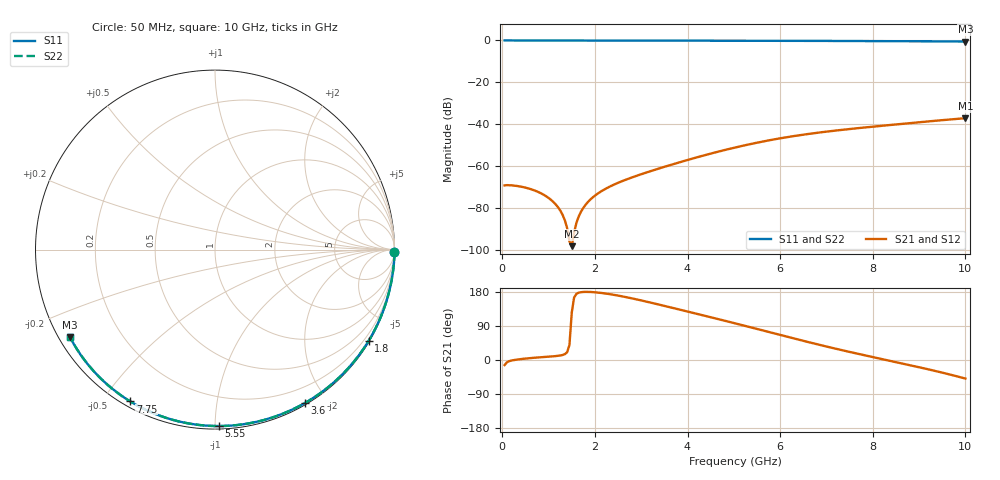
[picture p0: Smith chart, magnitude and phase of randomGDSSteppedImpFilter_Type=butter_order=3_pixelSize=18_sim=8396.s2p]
! freq	dB(S11)	phase(S11)	dB(S12)	phase(S12)
!  dB(S21)	phase(S21)	dB(S22)	phase(S22)
!S-par simulation data
#  GHz  S  DB  R 50
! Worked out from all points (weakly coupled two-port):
!   200 points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, 50 MHz to 10 GHz, reference 50 ohm
!   highest |S21| = -37.15 dB at 10 GHz (marker M1); lowest = -98.3 dB at 1.5 GHz (marker M2)
!   lowest |S11| = -0.5 dB at 10 GHz (marker M3), VSWR 34.64, Z = 1.56 - j13.9 ohm
!   |S11| at or under -10 dB: nowhere
!   |S22| runs from -0.5 to 0.0 dB; largest |S21 - S12| = 0
!   S11 on the Smith chart (normalised r, x): 50 MHz: open; 1.8 GHz: 0.03, -3.66; 3.6 GHz: 0.02, -1.74; 5.55 GHz: 0.02, -1.02; 7.75 GHz: 0.02, -0.59; 10 GHz: 0.03, -0.28
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0.05  -0.00 -0.9  -69.25 -13.3  -69.25 -13.3  -0.00 -0.9
0.35  -0.00 -6.1  -69.61 1.7  -69.61 1.7  -0.00 -6.1
0.65  -0.01 -11.2  -71.27 5.5  -71.27 5.5  -0.01 -11.2
0.95  -0.02 -16.3  -74.46 8.3  -74.46 8.3  -0.02 -16.3
1.1  -0.02 -18.9  -77.08 9.7  -77.08 9.7  -0.02 -18.8
1.2  -0.03 -20.5  -79.56 10.9  -79.56 10.9  -0.03 -20.5
1.25  -0.03 -21.4  -81.17 11.8  -81.17 11.8  -0.03 -21.4
1.5  -0.03 -25.6  -98.25 125.1  -98.25 125.1  -0.03 -25.6
1.75  -0.04 -29.8  -79.95 179.5  -79.95 179.5  -0.04 -29.8
1.8  -0.04 -30.6  -78.44 179.8  -78.44 179.8  -0.04 -30.6
2.05  -0.04 -34.7  -73.30 178.1  -73.30 178.1  -0.04 -34.7
2.35  -0.05 -39.7  -69.48 173.2  -69.48 173.2  -0.05 -39.7
2.75  -0.06 -46.2  -65.82 164.0  -65.82 164.0  -0.06 -46.2
3.4  -0.08 -56.5  -61.04 145.7  -61.04 145.7  -0.08 -56.5
3.6  -0.08 -59.7  -59.68 139.8  -59.68 139.8  -0.08 -59.6
4.3  -0.10 -70.4  -55.23 118.9  -55.23 118.9  -0.10 -70.4
5.05  -0.13 -81.6  -51.01 96.1  -51.01 96.1  -0.13 -81.5
5.55  -0.15 -88.8  -48.60 80.4  -48.60 80.4  -0.15 -88.8
6.7  -0.20 -104.9  -44.39 44.5  -44.39 44.5  -0.20 -104.9
7.75  -0.28 -119.1  -41.73 14.4  -41.73 14.4  -0.28 -119.1
8.35  -0.33 -127.1  -40.43 -1.6  -40.43 -1.6  -0.33 -127.0
10  -0.50 -148.8  -37.15 -49.0  -37.15 -49.0  -0.50 -148.8
